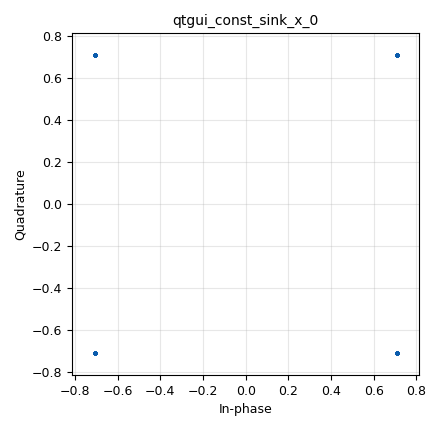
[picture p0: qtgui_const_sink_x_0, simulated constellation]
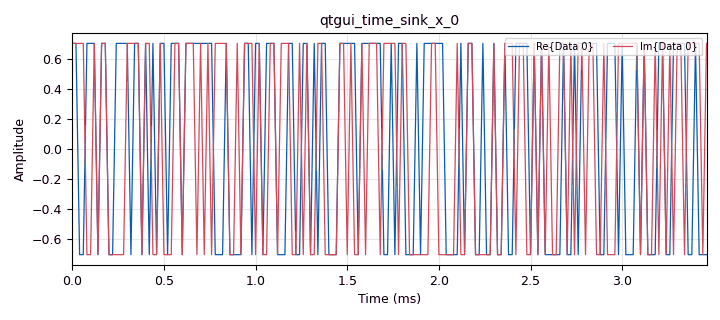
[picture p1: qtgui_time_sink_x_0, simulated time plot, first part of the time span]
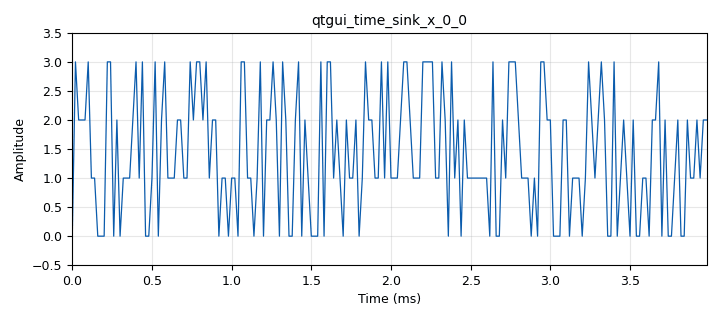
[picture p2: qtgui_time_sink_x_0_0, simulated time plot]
options:
  parameters:
    author: Juan Gerez Jimenez
    generate_options: qt_gui
    id: nuevo_integrador
    output_language: python
    title: Not titled yet
  states: {}

blocks:
- name: noise_volt
  id: variable_qtgui_range
  parameters:
    label: Noise Voltage
    start: '0'
    step: '0.01'
    stop: '1'
    value: '0'
  states: {}
- name: samp_rate
  id: variable
  parameters:
    value: '50000'
  states: {}
- name: analog_random_source_x_0
  id: analog_random_source_x
  parameters:
    max: '4'
    min: '0'
    num_samps: '1000000'
    repeat: 'True'
    type: byte
  states: {}
- name: blocks_throttle2_0
  id: blocks_throttle2
  parameters:
    samples_per_second: samp_rate
    type: byte
  states: {}
- name: blocks_uchar_to_float_0
  id: blocks_uchar_to_float
  parameters: {}
  states: {}
- name: channels_channel_model_0
  id: channels_channel_model
  parameters:
    epsilon: '1.0'
    freq_offset: '0.0'
    noise_voltage: noise_volt
    seed: '0'
    taps: '[1.0+0.0j]'
  states: {}
- name: digital_chunks_to_symbols_xx_0
  id: digital_chunks_to_symbols_xx
  parameters:
    dimension: '1'
    in_type: byte
    out_type: complex
    symbol_table: '[0.70710678+0.70710678j, -0.70710678+0.70710678j, -0.70710678-0.70710678j, 0.70710678-0.70710678j]'
  states: {}
- name: qtgui_const_sink_x_0
  id: qtgui_const_sink_x
  parameters:
    autoscale: 'True'
    gui_hint: 2,1,1,1
    size: '1024'
    type: complex
  states: {}
- name: qtgui_time_sink_x_0
  id: qtgui_time_sink_x
  parameters:
    autoscale: 'True'
    gui_hint: 1,1,1,1
    size: '1024'
    srate: samp_rate
    type: complex
  states: {}
- name: qtgui_time_sink_x_0_0
  id: qtgui_time_sink_x
  parameters:
    gui_hint: 1,2,1,1
    size: '200'
    srate: samp_rate
    type: float
    ymax: '3.5'
    ymin: '-0.5'
  states: {}

connections:
- [analog_random_source_x_0, '0', blocks_throttle2_0, '0']
- [blocks_throttle2_0, '0', blocks_uchar_to_float_0, '0']
- [blocks_throttle2_0, '0', digital_chunks_to_symbols_xx_0, '0']
- [blocks_uchar_to_float_0, '0', qtgui_time_sink_x_0_0, '0']
- [channels_channel_model_0, '0', qtgui_const_sink_x_0, '0']
- [channels_channel_model_0, '0', qtgui_time_sink_x_0, '0']
- [digital_chunks_to_symbols_xx_0, '0', channels_channel_model_0, '0']

metadata:
  file_format: 1
  grc_version: 3.10.12.0
